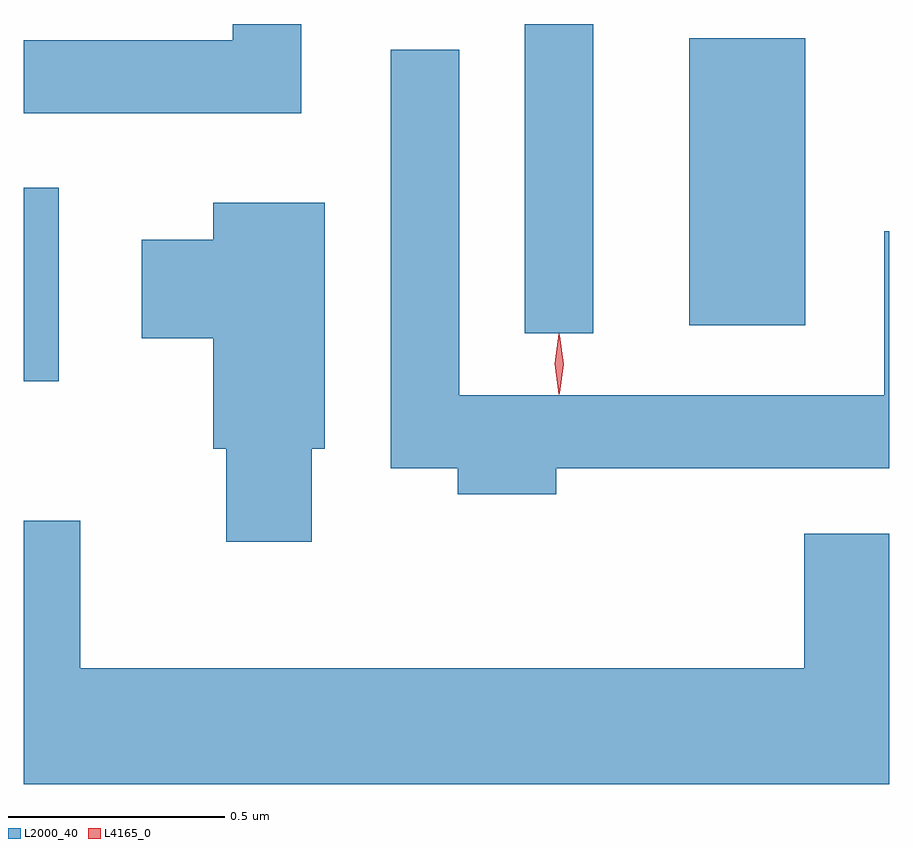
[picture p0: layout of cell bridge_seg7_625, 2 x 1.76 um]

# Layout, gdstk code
import gdstk
lib = gdstk.Library(unit=1e-6, precision=1e-09)
def R(c, l, rs):  # rectangles x0, y0, x1, y1
    for r in rs: c.add(gdstk.rectangle(r[:2], r[2:], *l))
def P(c, l, *ps):  # polygons
    for p in ps: c.add(gdstk.Polygon(p, *l))
L2000_40 = (2000, 40)
L4165_0 = (4165, 0)

bridge_seg7_625 = lib.new_cell('bridge_seg7_625')
R(bridge_seg7_625, L2000_40, [(624.048,1735.226,624.129,1735.674), (625.206,1735.338,625.364,1736.052), (625.586,1735.356,625.854,1736.019)])
P(bridge_seg7_625, L2000_40, [(624.689,1736.052),(624.531,1736.052),(624.531,1736.014),(624.048,1736.014),(624.048,1735.846),(624.689,1735.846)],
  [(625.279,1735.026),(626.048,1735.026),(626.048,1735.573),(626.036,1735.573),(626.036,1735.194),(625.054,1735.194),(625.054,1735.993),(624.896,1735.993),(624.896,1735.026),(625.051,1735.026),(625.051,1734.966),(625.279,1734.966)],
  [(624.714,1735.071),(624.744,1735.071),(624.744,1735.639),(624.486,1735.639),(624.486,1735.554),(624.321,1735.554),(624.321,1735.326),(624.486,1735.326),(624.486,1735.071),(624.516,1735.071),(624.516,1734.856),(624.714,1734.856)],
  [(626.048,1734.874),(625.851,1734.874),(625.851,1734.564),(624.179,1734.564),(624.179,1734.904),(624.048,1734.904),(624.048,1734.296),(626.048,1734.296)])
P(bridge_seg7_625, L4165_0, [(625.284,1735.197),(625.275,1735.267),(625.284,1735.336),(625.285,1735.336),(625.285,1735.336),(625.295,1735.267),(625.285,1735.197),(625.285,1735.197)],
  [(625.286,1735.199),(625.285,1735.2),(625.276,1735.266),(625.285,1735.332),(625.286,1735.333),(625.286,1735.332),(625.296,1735.266),(625.286,1735.2)])

lib.write_gds('bridge_seg7_625.gds')
